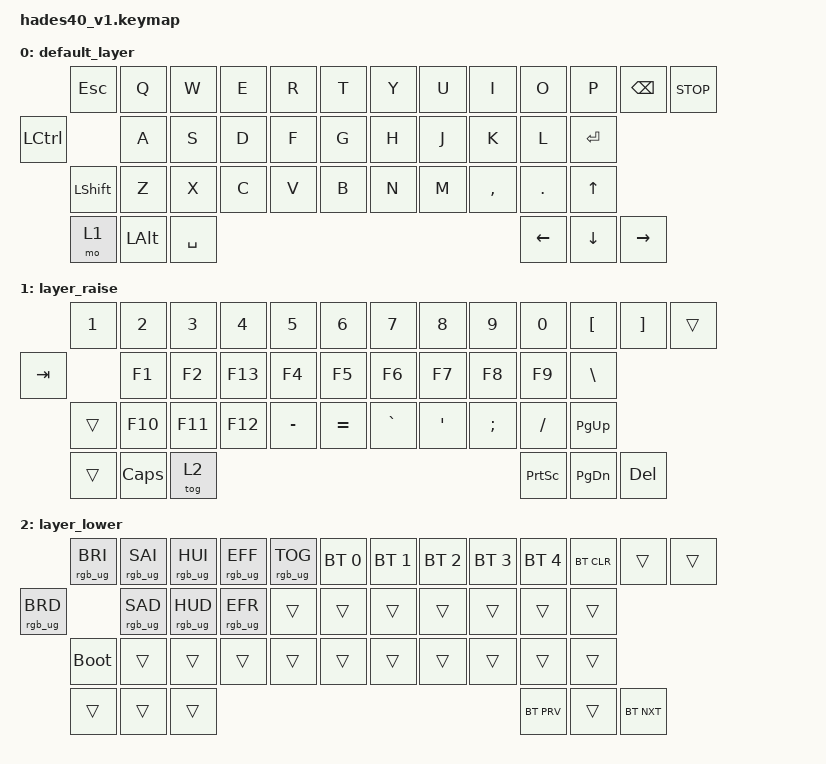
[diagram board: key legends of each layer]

/*
 * Copyright (c) 2020 The ZMK Contributors
 *
 * SPDX-License-Identifier: MIT
 */


/* THIS FILE WAS GENERATED!
 *
 * This file was generated automatically. You may or may not want to
 * edit it directly.
 */

#include <behaviors.dtsi>
#include <dt-bindings/zmk/keys.h>
#include <dt-bindings/zmk/rgb.h>
#include <dt-bindings/zmk/bt.h>

/ {
    keymap {
        compatible = "zmk,keymap";


        default_layer {
            bindings = <
          &kp ESC     &kp Q   &kp W   &kp E   &kp R      &kp T   &kp Y   &kp U      &kp I    &kp O      &kp P   &kp BSPC  &kp K_STOP
 &kp LEFT_CONTROL     &kp A   &kp S   &kp D   &kp F      &kp G   &kp H   &kp J      &kp K    &kp L  &kp ENTER
        &kp LSHFT     &kp Z   &kp X   &kp C   &kp V      &kp B   &kp N   &kp M  &kp COMMA  &kp DOT     &kp UP
            &mo 1  &kp LALT                          &kp SPACE                   &kp LEFT            &kp DOWN  &kp RIGHT
            >;
        };

        layer_raise {
            bindings = <
  &kp N1    &kp N2   &kp N3   &kp N4     &kp N5     &kp N6     &kp N7            &kp N8           &kp N9     &kp N0  &kp LEFT_BRACKET  &kp RIGHT_BRACKET  &trans
 &kp TAB    &kp F1   &kp F2  &kp F13     &kp F4     &kp F5     &kp F6            &kp F7           &kp F8     &kp F9     &kp BACKSLASH
  &trans   &kp F10  &kp F11  &kp F12  &kp MINUS  &kp EQUAL  &kp GRAVE  &kp SINGLE_QUOTE    &kp SEMICOLON  &kp SLASH       &kp PAGE_UP
  &trans  &kp CAPS                                  &tog 2                               &kp PRINTSCREEN                &kp PAGE_DOWN         &kp DELETE
            >;
        };

        layer_lower {
            bindings = <
 &rgb_ug RGB_BRI  &rgb_ug RGB_SAI  &rgb_ug RGB_HUI  &rgb_ug RGB_EFF  &rgb_ug RGB_TOG  &bt BT_SEL 0  &bt BT_SEL 1  &bt BT_SEL 2  &bt BT_SEL 3  &bt BT_SEL 4  &bt BT_CLR      &trans  &trans
 &rgb_ug RGB_BRD  &rgb_ug RGB_SAD  &rgb_ug RGB_HUD  &rgb_ug RGB_EFR           &trans        &trans        &trans        &trans        &trans        &trans      &trans
     &bootloader           &trans           &trans           &trans           &trans        &trans        &trans        &trans        &trans        &trans      &trans
          &trans           &trans                                                           &trans                                &bt BT_PRV                    &trans  &bt BT_NXT
            >;
        };

    };
};
